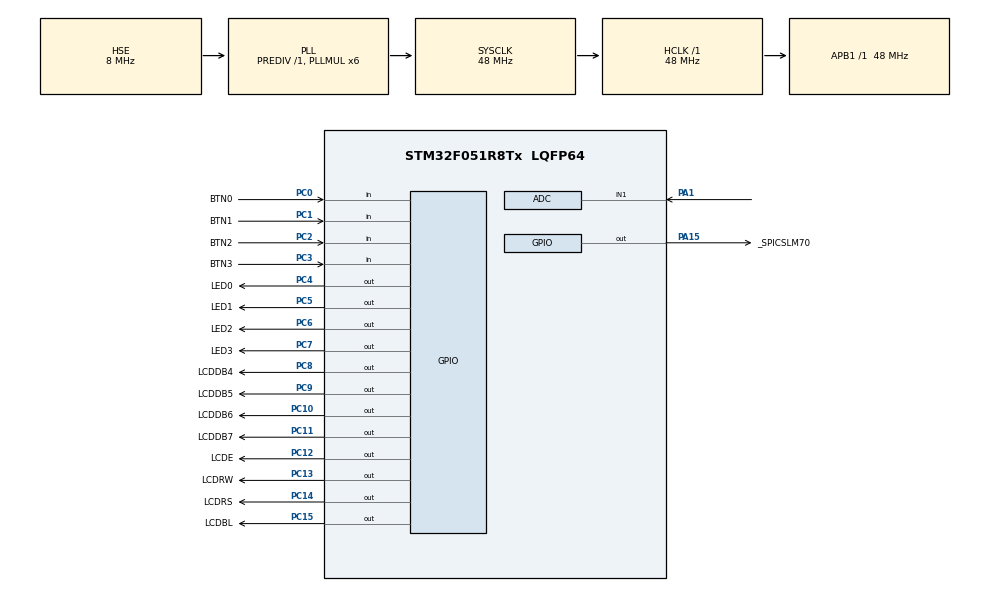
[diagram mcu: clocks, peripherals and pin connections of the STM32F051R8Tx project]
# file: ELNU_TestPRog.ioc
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Mcu.Family=STM32F0
Mcu.Name=STM32F051R8Tx
Mcu.Package=LQFP64
NVIC.TIM14_IRQn=true\:0\:0\:false\:false\:true\:true\:true
NVIC.TIM6_DAC_IRQn=true\:0\:0\:false\:false\:true\:true\:true
PA1.Mode=IN1
PA1.Signal=ADC_IN1
PA13.Mode=Serial_Wire
PA13.Signal=SYS_SWDIO
PA14.Mode=Serial_Wire
PA14.Signal=SYS_SWCLK
PA15.GPIO_Label=_SPICSLM70
PA15.PinState=GPIO_PIN_SET
PA15.Signal=GPIO_Output
PA5.GPIO_Label=SPISCK
PA5.Signal=SPI1_SCK
PA6.GPIO_Label=SPIMISO
PA6.Signal=SPI1_MISO
PC0.GPIO_Label=BTN0
PC0.Signal=GPIO_Input
PC1.GPIO_Label=BTN1
PC1.Signal=GPIO_Input
PC10.GPIO_Label=LCDDB6
PC10.Signal=GPIO_Output
PC11.GPIO_Label=LCDDB7
PC11.Signal=GPIO_Output
PC12.GPIO_Label=LCDE
PC12.Signal=GPIO_Output
PC13.GPIO_Label=LCDRW
PC13.Signal=GPIO_Output
PC14-OSC32_IN.GPIO_Label=LCDRS
PC14-OSC32_IN.Signal=GPIO_Output
PC15-OSC32_OUT.GPIO_Label=LCDBL
PC15-OSC32_OUT.Signal=GPIO_Output
PC2.GPIO_Label=BTN2
PC2.Signal=GPIO_Input
PC3.GPIO_Label=BTN3
PC3.Signal=GPIO_Input
PC4.GPIO_Label=LED0
PC4.PinState=GPIO_PIN_SET
PC4.Signal=GPIO_Output
PC5.GPIO_Label=LED1
PC5.PinState=GPIO_PIN_SET
PC5.Signal=GPIO_Output
PC6.GPIO_Label=LED2
PC6.PinState=GPIO_PIN_SET
PC6.Signal=GPIO_Output
PC7.GPIO_Label=LED3
PC7.PinState=GPIO_PIN_SET
PC7.Signal=GPIO_Output
PC8.GPIO_Label=LCDDB4
PC8.Signal=GPIO_Output
PC9.GPIO_Label=LCDDB5
PC9.Signal=GPIO_Output
PF0-OSC_IN.GPIO_Label=OSCIN
PF0-OSC_IN.Mode=HSE-External-Oscillator
PF0-OSC_IN.Signal=RCC_OSC_IN
PF1-OSC_OUT.GPIO_Label=OSCOUT
PF1-OSC_OUT.Mode=HSE-External-Oscillator
PF1-OSC_OUT.Signal=RCC_OSC_OUT
PF6.Signal=I2C2_SCL
PF7.Signal=I2C2_SDA
ProjectManager.HeapSize=0x200
ProjectManager.StackSize=0x400
ProjectManager.TargetToolchain=MDK-ARM V5
RCC.AHBFreq_Value=48000000
RCC.APB1Freq_Value=48000000
RCC.APB1TimFreq_Value=48000000
RCC.EnbaleCSS=true
RCC.HCLKFreq_Value=48000000
RCC.PLLMUL=RCC_PLL_MUL6
RCC.PLLSourceVirtual=RCC_PLLSOURCE_HSE
RCC.SYSCLKFreq_VALUE=48000000
RCC.SYSCLKSource=RCC_SYSCLKSOURCE_PLLCLK
TIM14.Period=1000
TIM14.Prescaler=47
TIM6.Period=19999
TIM6.Prescaler=480
VP_TIM14_VS_ClockSourceINT.Mode=Enable_Timer
VP_TIM6_VS_ClockSourceINT.Mode=Enable_Timer
board=test01_blink

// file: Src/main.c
/* USER CODE BEGIN Header */
/**
  ******************************************************************************
  * @file           : main.c
  * @brief          : Main program body
  ******************************************************************************
  * @attention
  *
  * <h2><center>&copy; Copyright (c) 2021 STMicroelectronics.
  * All rights reserved.</center></h2>
  *
  * This software component is licensed by ST under BSD 3-Clause license,
  * the "License"; You may not use this file except in compliance with the
  * License. You may obtain a copy of the License at:
  *                        opensource.org/licenses/BSD-3-Clause
  *
  ******************************************************************************
  */
/* USER CODE END Header */
#include "main.h"
#include "adc.h"
#include "tim.h"
#include "gpio.h"

/* USER CODE BEGIN Includes */
#include <stdint.h>

#include "fonctionsTestELNU.h"
#include "stm32DriverLcd.h"
#include "stm32f0xx_it.h"
/* USER CODE END Includes */

/* USER CODE BEGIN PV */
uint8_t StateMachine = 0;
uint8_t animationState = 0;
uint8_t stateLed = 0;
/* USER CODE END PV */

void SystemClock_Config(void);

int main(void)
{
  /* USER CODE BEGIN 1 */
	//-- déclaration de variable --//

  /* USER CODE END 1 */

  /* MCU Configuration--------------------------------------------------------*/

  /* Reset of all peripherals, Initializes the Flash interface and the Systick. */
  HAL_Init();

  /* Configure the system clock */
  SystemClock_Config();

  /* Initialize all configured peripherals */
  MX_GPIO_Init();
  MX_TIM6_Init();
  MX_TIM14_Init();
  MX_ADC_Init();
  /* USER CODE BEGIN 2 */
	//-- initialisation LCD avec message utilisateur --//
	lcd_init();
	lcd_bl_on();
  lcd_gotoxy(1,1);
	printf_lcd("TEST ELNU 23");
	lcd_gotoxy(1,2);
	printf_lcd("SOLUS XXX");

	//-- activation du timer 6 avec interruption --//
 	HAL_TIM_Base_Start_IT(&htim6);

	//-- calibration pour l'ADC --//

  /* USER CODE END 2 */

  /* Infinite loop */
  /* USER CODE BEGIN WHILE */
  while (1)
  {
		//-- Machine d'état --//
		switch(StateMachine)
		{
			//-- Initialisation --//
			case STATE_INIT:
				//-- appel fonction chenillard --//
				FctChenillard(stateLed);
				//-- allumer les leds pendant 5s --//
				FctAllumerLeds();
				//-- eteindre les leds --//
				FctEteindreLeds();
				//-- lancement du timer14 avec interruption --//
				HAL_TIM_Base_Start_IT(&htim14);
				//-- mise à jour de la machine d'état --//
				StateMachine = STATE_WAIT;
				break;
			//-- Execution --//
			case STATE_EXEC:
				//-- lecture de l'ADC => canal 1 --//
				//FctLectureADC();
				//-- controle des seuils --//

				//-- test si touches sont activée actif à 1 (actif toutes les 100ms)--//

				//-- action selon l'état des touches --//

					//-- appel de la fonction CreationDentScieGauche --//

					//-- appel de la fonction CreationDentSciedroite --//

					//-- appel de la fonction CreationTriangle --//

					//-- mise à du tableau à zéro --//
				break;
			//-- Attente --//
			case STATE_WAIT:
				//-- ne fait rien --//
				break;
			default:
				StateMachine = STATE_INIT;
				break;
		}
	}
    /* USER CODE END WHILE */

}

void SystemClock_Config(void)
{
  RCC_OscInitTypeDef RCC_OscInitStruct = {0};
  RCC_ClkInitTypeDef RCC_ClkInitStruct = {0};

  /** Initializes the RCC Oscillators according to the specified parameters
  * in the RCC_OscInitTypeDef structure.
  */
  RCC_OscInitStruct.OscillatorType = RCC_OSCILLATORTYPE_HSI14|RCC_OSCILLATORTYPE_HSE;
  RCC_OscInitStruct.HSEState = RCC_HSE_ON;
  RCC_OscInitStruct.HSI14State = RCC_HSI14_ON;
  RCC_OscInitStruct.HSI14CalibrationValue = 16;
  RCC_OscInitStruct.PLL.PLLState = RCC_PLL_ON;
  RCC_OscInitStruct.PLL.PLLSource = RCC_PLLSOURCE_HSE;
  RCC_OscInitStruct.PLL.PLLMUL = RCC_PLL_MUL6;
  RCC_OscInitStruct.PLL.PREDIV = RCC_PREDIV_DIV1;
  if (HAL_RCC_OscConfig(&RCC_OscInitStruct) != HAL_OK)
  {
    Error_Handler();
  }
  /** Initializes the CPU, AHB and APB buses clocks
  */
  RCC_ClkInitStruct.ClockType = RCC_CLOCKTYPE_HCLK|RCC_CLOCKTYPE_SYSCLK
                              |RCC_CLOCKTYPE_PCLK1;
  RCC_ClkInitStruct.SYSCLKSource = RCC_SYSCLKSOURCE_PLLCLK;
  RCC_ClkInitStruct.AHBCLKDivider = RCC_SYSCLK_DIV1;
  RCC_ClkInitStruct.APB1CLKDivider = RCC_HCLK_DIV1;

  if (HAL_RCC_ClockConfig(&RCC_ClkInitStruct, FLASH_LATENCY_1) != HAL_OK)
  {
    Error_Handler();
  }
  /** Enables the Clock Security System
  */
  HAL_RCC_EnableCSS();
}

void Error_Handler(void)
{
  __disable_irq();
  while (1)
  {
  }
}

/************************ (C) COPYRIGHT STMicroelectronics *****END OF FILE****/
